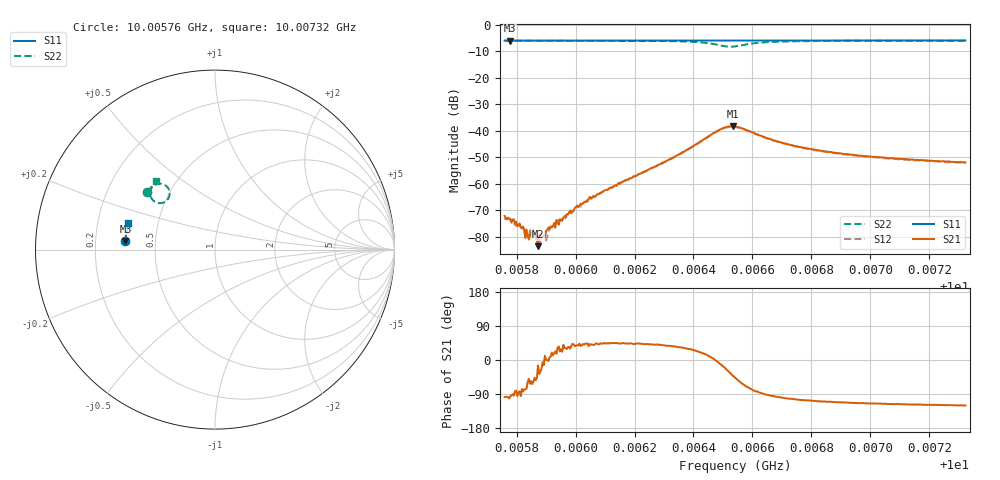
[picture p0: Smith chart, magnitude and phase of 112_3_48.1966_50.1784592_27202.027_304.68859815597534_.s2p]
#  HZ  S  RI  R  50.00
! Rohde & Schwarz Vector Network Analyzer
! Rohde-Schwarz,ZNB20-2Port,1311601062101988,3.16
! Created: UTC 3/20/2024, 11:41:03 AM
! freq[Hz]  re:S11  im:S11  re:S21  im:S21  re:S12  im:S12  re:S22  im:S22
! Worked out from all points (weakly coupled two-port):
!   401 points, 10.00576 GHz to 10.00732 GHz, reference 50 ohm
!   highest |S21| = -38.35 dB at 10.00653 GHz (marker M1); lowest = -83.5 dB at 10.00587 GHz (marker M2)
!   lowest |S11| = -6.0 dB at 10.00578 GHz (marker M3), VSWR 3.01, Z = 16.7 + j2.14 ohm
!   |S11| at or under -10 dB: nowhere
!   |S22| runs from -8.3 to -6.0 dB; largest |S21 - S12| = 0.00075
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1.0005759e10  -0.4989 0.0468  -3.34e-05 -0.000245  4.15e-06 -0.000208  -0.3785 0.3232
1.0005779e10  -0.4987 0.0481  -2.08e-05 -0.000208  8.63e-06 -0.00022  -0.3776 0.3242
1.0005798e10  -0.4987 0.0495  3.15e-05 -0.000191  4.15e-05 -0.000154  -0.3767 0.3254
1.0005818e10  -0.4987 0.0509  3.4e-05 -0.00014  3.46e-05 -0.00015  -0.3756 0.3267
1.0005837e10  -0.4984 0.052  5.4e-05 -8.8e-05  2.79e-05 -0.000115  -0.3746 0.3279
1.0005853e10  -0.4985 0.053  5.04e-05 -0.000101  7.49e-05 -5.77e-05  -0.3738 0.3288
1.0005873e10  -0.4983 0.0543  6.45e-05 -1.66e-05  8.39e-05 -4.18e-05  -0.3726 0.3303
1.0005888e10  -0.4982 0.0553  0.000101 -1.06e-05  8.04e-05 -6.84e-05  -0.3717 0.331
1.00059e10  -0.4982 0.0562  0.000128 4.37e-07  8.41e-05 1.33e-05  -0.3712 0.3319
1.0005908e10  -0.4982 0.0566  0.000149 -7.01e-06  0.000117 2.6e-05  -0.3705 0.3325
1.0005935e10  -0.498 0.0584  0.000199 5.94e-05  0.000166 7.46e-05  -0.3691 0.3342
1.0006021e10  -0.4976 0.064  0.000319 0.000255  0.000296 0.00029  -0.3636 0.3399
1.000608e10  -0.4972 0.0678  0.000491 0.000428  0.000435 0.000459  -0.3594 0.3443
1.0006283e10  -0.4955 0.081  0.00176 0.00149  0.00167 0.00153  -0.3361 0.3608
1.0006412e10  -0.4939 0.0895  0.00524 0.00223  0.00502 0.00243  -0.2962 0.3665
1.0006486e10  -0.4927 0.0938  0.0102 -0.00134  0.01 -0.000769  -0.2538 0.3249
1.0006533e10  -0.4921 0.0962  0.00911 -0.00795  0.0093 -0.00725  -0.2773 0.2671
1.0006541e10  -0.4921 0.0966  0.00819 -0.00875  0.00845 -0.00805  -0.2871 0.2621
1.0006627e10  -0.492 0.1019  0.000523 -0.00814  0.00084 -0.00792  -0.3554 0.2889
1.0006803e10  -0.4903 0.1135  -0.00136 -0.00425  -0.00112 -0.00422  -0.3565 0.3379
1.0007065e10  -0.4866 0.13  -0.00133 -0.00271  -0.00117 -0.00275  -0.3404 0.3639
1.0007323e10  -0.4824 0.1462  -0.00126 -0.0022  -0.00114 -0.00219  -0.3263 0.3801
